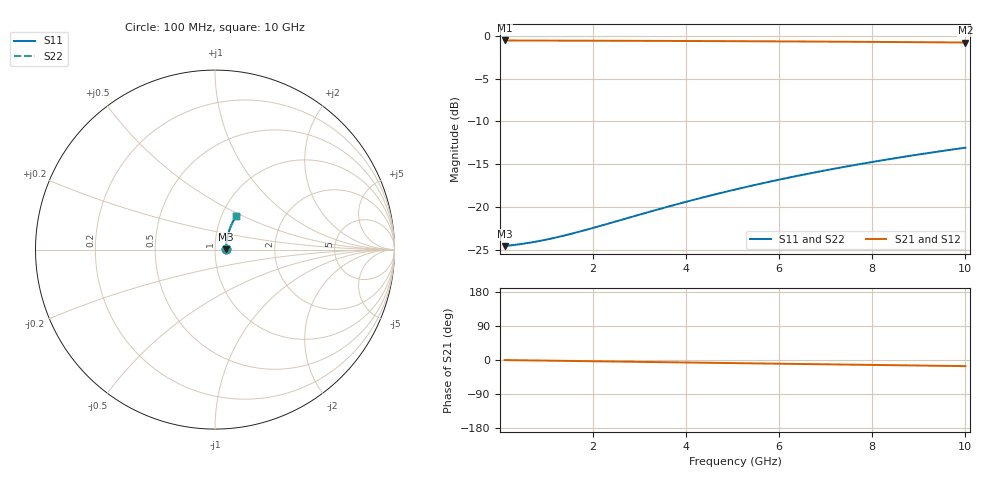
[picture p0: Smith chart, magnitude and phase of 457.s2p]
# Hz S RI R 50.00
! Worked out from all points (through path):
!   100 points, 100 MHz to 10 GHz, reference 50 ohm
!   highest |S21| = -0.53 dB at 100 MHz (marker M1); lowest = -0.8 dB at 10 GHz (marker M2)
!   group delay of S21, straight-line fit = 4.49 ps
!   lowest |S11| = -24.6 dB at 100 MHz (marker M3), VSWR 1.13, Z = 56.3 + j0.23 ohm
!   |S11| at or under -10 dB: start of sweep to end of sweep
!   |S22| runs from -24.6 to -13.1 dB; largest |S21 - S12| = 0
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1e8  0.059 0.00204  0.941 -0.0027  0.941 -0.0027  0.059 0.00204
5e8  0.0602 0.0102  0.9398 -0.0135  0.9398 -0.0135  0.0602 0.0102
7e8  0.0606 0.0142  0.9394 -0.0189  0.9394 -0.0189  0.0606 0.0142
9e8  0.061 0.0183  0.9389 -0.0242  0.9389 -0.0242  0.061 0.0183
1.1e9  0.0615 0.0223  0.9385 -0.0296  0.9385 -0.0296  0.0615 0.0223
1.3e9  0.0619 0.0263  0.938 -0.035  0.938 -0.035  0.0619 0.0263
1.5e9  0.0624 0.0304  0.9375 -0.0403  0.9375 -0.0403  0.0624 0.0304
1.8e9  0.0632 0.0364  0.9367 -0.0483  0.9367 -0.0483  0.0632 0.0364
2.2e9  0.0644 0.0444  0.9355 -0.059  0.9355 -0.059  0.0644 0.0444
3.4e9  0.0688 0.0682  0.9309 -0.0908  0.9309 -0.0908  0.0688 0.0682
3.9e9  0.071 0.078  0.9286 -0.1039  0.9286 -0.1039  0.071 0.078
4.3e9  0.073 0.0857  0.9265 -0.1143  0.9265 -0.1143  0.073 0.0857
4.7e9  0.0752 0.0935  0.9243 -0.1247  0.9243 -0.1247  0.0752 0.0935
5.1e9  0.0775 0.1011  0.9218 -0.135  0.9218 -0.135  0.0775 0.1011
5.5e9  0.08 0.1087  0.9193 -0.1452  0.9193 -0.1452  0.08 0.1087
5.9e9  0.0827 0.1162  0.9165 -0.1554  0.9165 -0.1554  0.0827 0.1162
6.3e9  0.0855 0.1236  0.9136 -0.1655  0.9136 -0.1655  0.0855 0.1236
6.7e9  0.0884 0.131  0.9105 -0.1755  0.9105 -0.1755  0.0884 0.131
7.5e9  0.0948 0.1454  0.9038 -0.1953  0.9038 -0.1953  0.0948 0.1454
8.4e9  0.1027 0.1612  0.8956 -0.2171  0.8956 -0.2171  0.1027 0.1612
9.2e9  0.1104 0.1748  0.8877 -0.236  0.8877 -0.236  0.1104 0.1748
1e10  0.1185 0.188  0.8791 -0.2546  0.8791 -0.2546  0.1185 0.188
